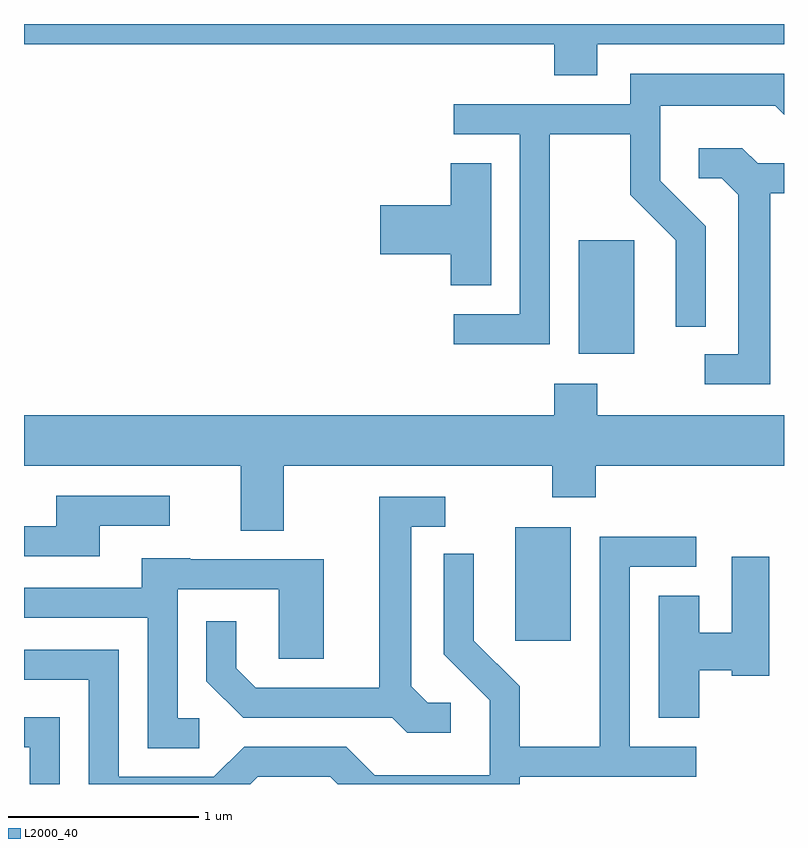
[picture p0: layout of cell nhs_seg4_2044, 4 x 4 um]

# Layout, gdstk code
import gdstk
lib = gdstk.Library(unit=1e-6, precision=1e-09)
def R(c, l, rs):  # rectangles x0, y0, x1, y1
    for r in rs: c.add(gdstk.rectangle(r[:2], r[2:], *l))
def P(c, l, *ps):  # polygons
    for p in ps: c.add(gdstk.Polygon(p, *l))
L2000_40 = (2000, 40)

nhs_seg4_2044 = lib.new_cell('nhs_seg4_2044')
R(nhs_seg4_2044, L2000_40, [(248.196,1262.736,248.489,1263.334), (248.531,1264.246,248.824,1264.844)])
P(nhs_seg4_2044, L2000_40, [(248.629,1265.876),(249.611,1265.876),(249.611,1265.982),(245.611,1265.982),(245.611,1265.876),(248.401,1265.876),(248.401,1265.711),(248.629,1265.711)],
  [(248.379,1265.401),(248.801,1265.401),(248.801,1265.084),(249.041,1264.844),(249.041,1264.388),(249.199,1264.388),(249.199,1264.917),(248.959,1265.157),(248.959,1265.551),(249.564,1265.551),(249.611,1265.504),(249.611,1265.719),(248.801,1265.719),(248.801,1265.559),(247.873,1265.559),(247.873,1265.401),(248.221,1265.401),(248.221,1264.454),(247.873,1264.454),(247.873,1264.296),(248.379,1264.296)],
  [(249.539,1265.091),(249.611,1265.091),(249.611,1265.249),(249.472,1265.249),(249.392,1265.329),(249.163,1265.329),(249.163,1265.171),(249.284,1265.171),(249.371,1265.084),(249.371,1264.244),(249.193,1264.244),(249.193,1264.086),(249.539,1264.086)],
  [(248.069,1265.249),(247.856,1265.249),(247.856,1265.029),(247.486,1265.029),(247.486,1264.771),(247.856,1264.771),(247.856,1264.606),(248.069,1264.606)],
  [(246.979,1263.656),(248.391,1263.656),(248.391,1263.491),(248.619,1263.491),(248.619,1263.656),(249.611,1263.656),(249.611,1263.924),(248.629,1263.924),(248.629,1264.089),(248.401,1264.089),(248.401,1263.924),(245.611,1263.924),(245.611,1263.656),(246.751,1263.656),(246.751,1263.316),(246.979,1263.316)],
  [(246.009,1263.341),(246.378,1263.341),(246.378,1263.499),(245.781,1263.499),(245.781,1263.339),(245.611,1263.339),(245.611,1263.181),(246.009,1263.181)],
  [(247.858,1262.409),(247.737,1262.409),(247.649,1262.497),(247.649,1263.336),(247.828,1263.336),(247.828,1263.494),(247.481,1263.494),(247.481,1262.489),(246.832,1262.489),(246.729,1262.592),(246.729,1262.838),(246.571,1262.838),(246.571,1262.524),(246.764,1262.331),(247.549,1262.331),(247.629,1262.251),(247.858,1262.251)],
  [(246.842,1262.021),(247.224,1262.021),(247.263,1261.982),(248.219,1261.982),(248.219,1262.021),(249.148,1262.021),(249.148,1262.179),(248.799,1262.179),(248.799,1263.126),(249.148,1263.126),(249.148,1263.284),(248.641,1263.284),(248.641,1262.179),(248.219,1262.179),(248.219,1262.497),(247.979,1262.737),(247.979,1263.193),(247.821,1263.193),(247.821,1262.664),(248.061,1262.424),(248.061,1262.029),(247.457,1262.029),(247.307,1262.179),(246.769,1262.179),(246.609,1262.019),(246.109,1262.019),(246.109,1262.689),(245.611,1262.689),(245.611,1262.531),(245.951,1262.531),(245.951,1261.982),(246.803,1261.982)],
  [(249.164,1262.581),(249.336,1262.581),(249.336,1262.551),(249.534,1262.551),(249.534,1263.179),(249.336,1263.179),(249.336,1262.779),(249.164,1262.779),(249.164,1262.974),(248.951,1262.974),(248.951,1262.331),(249.164,1262.331)],
  [(246.533,1262.329),(246.419,1262.329),(246.419,1263.006),(246.951,1263.006),(246.951,1262.641),(247.189,1262.641),(247.189,1263.164),(246.485,1263.164),(246.485,1263.169),(246.231,1263.169),(246.231,1263.014),(245.611,1263.014),(245.611,1262.856),(246.261,1262.856),(246.261,1262.171),(246.533,1262.171)],
  [(245.799,1262.334),(245.611,1262.334),(245.611,1262.176),(245.641,1262.176),(245.641,1261.982),(245.799,1261.982)])

lib.write_gds('nhs_seg4_2044.gds')
